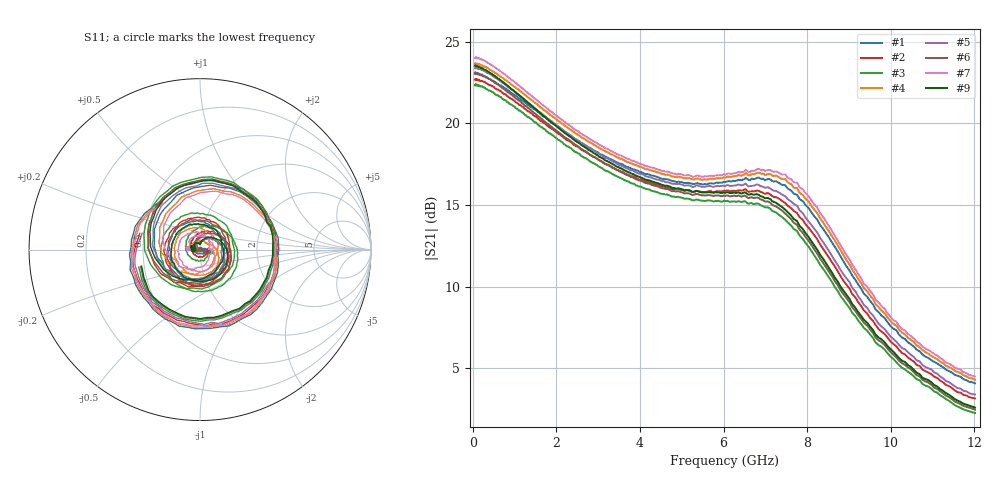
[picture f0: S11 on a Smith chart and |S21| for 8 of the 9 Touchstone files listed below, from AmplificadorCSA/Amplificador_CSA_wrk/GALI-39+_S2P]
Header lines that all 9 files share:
! Mini-Circuits
! S2P DATA File Format
! Type: MMIC Amplifier
! Model: GALI-39  Reference Data:RDF-1232
! Note: All S Parameters are in dB deg format
! 401 Frequency points
# MHz S DB R 50
!  FREQ  dB(S11)  PHS(S11)  dB(S21)  PHS(S21)  dB(S12)  PHS(S12)  dB(S22)  PHS(S22)
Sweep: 50 MHz to 12.02 GHz
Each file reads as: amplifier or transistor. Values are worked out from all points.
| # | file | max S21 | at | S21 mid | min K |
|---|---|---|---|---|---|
| 1 | GALI-39+___28mA___Minus45degC.S2P | 23.1 dB | 74 MHz | 17.8 dB at 3.31 GHz | 1.03 |
| 2 | GALI-39+___28mA___Plus25degC.S2P | 22.7 dB | 74 MHz | 17.4 dB at 3.31 GHz | 1.03 |
| 3 | GALI-39+___28mA___Plus85degC.S2P | 22.4 dB | 74 MHz | 17.0 dB at 3.31 GHz | 1.03 |
| 4 | GALI-39+___35mA___Minus45degC.S2P | 23.7 dB | 62 MHz | 18.1 dB at 3.31 GHz | 1.03 |
| 5 | GALI-39+___35mA___Plus25degC.S2P | 23.4 dB | 68 MHz | 17.7 dB at 3.31 GHz | 1.03 |
| 6 | GALI-39+___35mA___Plus85degC.S2P | 23.1 dB | 62 MHz | 17.3 dB at 3.31 GHz | 1.03 |
| 7 | GALI-39+___42mA___Minus45degC.S2P | 24.1 dB | 68 MHz | 18.3 dB at 3.31 GHz | 1.02 |
| 8 | GALI-39+___42mA___Plus25degC.S2P | 23.8 dB | 68 MHz | 17.9 dB at 3.31 GHz | 1.03 |
| 9 | GALI-39+___42mA___Plus85degC.S2P | 23.5 dB | 68 MHz | 17.6 dB at 3.31 GHz | 1.03 |
